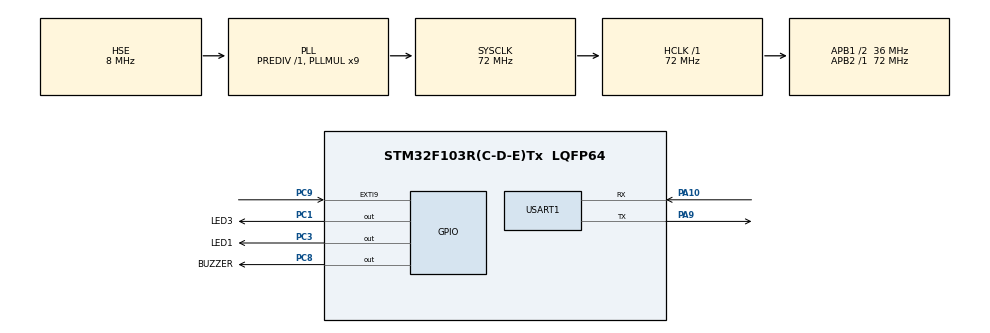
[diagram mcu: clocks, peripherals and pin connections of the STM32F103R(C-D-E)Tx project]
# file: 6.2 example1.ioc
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Mcu.Family=STM32F1
Mcu.Name=STM32F103R(C-D-E)Tx
Mcu.Package=LQFP64
NVIC.EXTI9_5_IRQn=true\:0\:0\:false\:false\:true\:true\:true\:true
NVIC.PriorityGroup=NVIC_PRIORITYGROUP_4
NVIC.TIM6_IRQn=true\:15\:0\:false\:false\:true\:false\:true\:true
NVIC.TimeBase=TIM6_IRQn
NVIC.TimeBaseIP=TIM6
PA10.Mode=Asynchronous
PA10.Signal=USART1_RX
PA13.Mode=Serial_Wire
PA13.Signal=SYS_JTMS-SWDIO
PA14.Mode=Serial_Wire
PA14.Signal=SYS_JTCK-SWCLK
PA9.Mode=Asynchronous
PA9.Signal=USART1_TX
PC1.GPIO_Label=LED3
PC1.Signal=GPIO_Output
PC3.GPIO_Label=LED1
PC3.Signal=GPIO_Output
PC8.GPIO_Label=BUZZER
PC8.Signal=GPIO_Output
PC9.GPIO_ModeDefaultEXTI=GPIO_MODE_IT_RISING
PC9.GPIO_PuPd=GPIO_PULLUP
PC9.Signal=GPXTI9
PD0-OSC_IN.Mode=HSE-External-Oscillator
PD0-OSC_IN.Signal=RCC_OSC_IN
PD1-OSC_OUT.Mode=HSE-External-Oscillator
PD1-OSC_OUT.Signal=RCC_OSC_OUT
ProjectManager.HeapSize=0x200
ProjectManager.StackSize=0x400
ProjectManager.TargetToolchain=STM32CubeIDE
RCC.AHBFreq_Value=72000000
RCC.APB1CLKDivider=RCC_HCLK_DIV2
RCC.APB1Freq_Value=36000000
RCC.APB1TimFreq_Value=72000000
RCC.APB2Freq_Value=72000000
RCC.APB2TimFreq_Value=72000000
RCC.HCLKFreq_Value=72000000
RCC.PLLMUL=RCC_PLL_MUL9
RCC.PLLSourceVirtual=RCC_PLLSOURCE_HSE
RCC.SYSCLKFreq_VALUE=72000000
RCC.SYSCLKSource=RCC_SYSCLKSOURCE_PLLCLK
RCC.USBFreq_Value=72000000
USART1.VirtualMode=VM_ASYNC
VP_SYS_VS_tim6.Mode=TIM6
board=custom

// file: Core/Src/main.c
/* USER CODE BEGIN Header */
/**
  ******************************************************************************
  * @file           : main.c
  * @brief          : Main program body
  ******************************************************************************
  * @attention
  *
  * Copyright (c) 2026 STMicroelectronics.
  * All rights reserved.
  *
  * This software is licensed under terms that can be found in the LICENSE file
  * in the root directory of this software component.
  * If no LICENSE file comes with this software, it is provided AS-IS.
  *
  ******************************************************************************
  */
/* USER CODE END Header */
#include "main.h"

/* USER CODE BEGIN Includes */
#include "FreeRTOS.h"
#include "task.h"
/* USER CODE END Includes */

UART_HandleTypeDef huart1;

void SystemClock_Config(void);
static void MX_GPIO_Init(void);
static void MX_USART1_UART_Init(void);

/* USER CODE BEGIN 0 */
void vLED1Task(void *pvParameters)
{
	for(;;)
	{
		HAL_GPIO_WritePin(LED1_GPIO_Port, LED1_Pin, GPIO_PIN_SET);
		vTaskDelay(pdMS_TO_TICKS(100));
		HAL_GPIO_WritePin(LED1_GPIO_Port, LED1_Pin, GPIO_PIN_RESET);
		vTaskDelay(pdMS_TO_TICKS(100));
	}
}

void HAL_GPIO_EXTI_Callback(uint16_t GPIO_Pin)
{
	static uint32_t debounceTime = 0;

	uint32_t now = HAL_GetTick();

	if((GPIO_Pin == GPIO_PIN_9) && (now - debounceTime > 10))
	{
		for(int i=0; i<2; i++)
		{
			HAL_GPIO_WritePin(BUZZER_GPIO_Port, BUZZER_Pin, GPIO_PIN_SET);
			for(int j=0; j<300000; j++);
			HAL_GPIO_WritePin(BUZZER_GPIO_Port, BUZZER_Pin, GPIO_PIN_RESET);
			for(int j=0; j<300000; j++);
		}

		debounceTime = now;
	}
}
/* USER CODE END 0 */

int main(void)
{

  /* MCU Configuration--------------------------------------------------------*/

  /* Reset of all peripherals, Initializes the Flash interface and the Systick. */
  HAL_Init();

  /* Configure the system clock */
  SystemClock_Config();

  /* Initialize all configured peripherals */
  MX_GPIO_Init();
  MX_USART1_UART_Init();
  /* USER CODE BEGIN 2 */

  xTaskCreate(vLED1Task, "LED1", 32, NULL, 1, NULL);

  vTaskStartScheduler();
  /* USER CODE END 2 */

  /* Infinite loop */
  while (1)
  {

  }
}

void SystemClock_Config(void)
{
  RCC_OscInitTypeDef RCC_OscInitStruct = {0};
  RCC_ClkInitTypeDef RCC_ClkInitStruct = {0};

  /** Initializes the RCC Oscillators according to the specified parameters
  * in the RCC_OscInitTypeDef structure.
  */
  RCC_OscInitStruct.OscillatorType = RCC_OSCILLATORTYPE_HSE;
  RCC_OscInitStruct.HSEState = RCC_HSE_ON;
  RCC_OscInitStruct.HSEPredivValue = RCC_HSE_PREDIV_DIV1;
  RCC_OscInitStruct.HSIState = RCC_HSI_ON;
  RCC_OscInitStruct.PLL.PLLState = RCC_PLL_ON;
  RCC_OscInitStruct.PLL.PLLSource = RCC_PLLSOURCE_HSE;
  RCC_OscInitStruct.PLL.PLLMUL = RCC_PLL_MUL9;
  if (HAL_RCC_OscConfig(&RCC_OscInitStruct) != HAL_OK)
  {
    Error_Handler();
  }

  /** Initializes the CPU, AHB and APB buses clocks
  */
  RCC_ClkInitStruct.ClockType = RCC_CLOCKTYPE_HCLK|RCC_CLOCKTYPE_SYSCLK
                              |RCC_CLOCKTYPE_PCLK1|RCC_CLOCKTYPE_PCLK2;
  RCC_ClkInitStruct.SYSCLKSource = RCC_SYSCLKSOURCE_PLLCLK;
  RCC_ClkInitStruct.AHBCLKDivider = RCC_SYSCLK_DIV1;
  RCC_ClkInitStruct.APB1CLKDivider = RCC_HCLK_DIV2;
  RCC_ClkInitStruct.APB2CLKDivider = RCC_HCLK_DIV1;

  if (HAL_RCC_ClockConfig(&RCC_ClkInitStruct, FLASH_LATENCY_2) != HAL_OK)
  {
    Error_Handler();
  }
}

static void MX_USART1_UART_Init(void)
{

  huart1.Instance = USART1;
  huart1.Init.BaudRate = 115200;
  huart1.Init.WordLength = UART_WORDLENGTH_8B;
  huart1.Init.StopBits = UART_STOPBITS_1;
  huart1.Init.Parity = UART_PARITY_NONE;
  huart1.Init.Mode = UART_MODE_TX_RX;
  huart1.Init.HwFlowCtl = UART_HWCONTROL_NONE;
  huart1.Init.OverSampling = UART_OVERSAMPLING_16;
  if (HAL_UART_Init(&huart1) != HAL_OK)
  {
    Error_Handler();
  }

}

static void MX_GPIO_Init(void)
{
  GPIO_InitTypeDef GPIO_InitStruct = {0};

  /* GPIO Ports Clock Enable */
  __HAL_RCC_GPIOD_CLK_ENABLE();
  __HAL_RCC_GPIOC_CLK_ENABLE();
  __HAL_RCC_GPIOA_CLK_ENABLE();

  /*Configure GPIO pin Output Level */
  HAL_GPIO_WritePin(GPIOC, LED3_Pin|LED1_Pin|BUZZER_Pin, GPIO_PIN_RESET);

  /*Configure GPIO pins : LED3_Pin LED1_Pin BUZZER_Pin */
  GPIO_InitStruct.Pin = LED3_Pin|LED1_Pin|BUZZER_Pin;
  GPIO_InitStruct.Mode = GPIO_MODE_OUTPUT_PP;
  GPIO_InitStruct.Pull = GPIO_NOPULL;
  GPIO_InitStruct.Speed = GPIO_SPEED_FREQ_LOW;
  HAL_GPIO_Init(GPIOC, &GPIO_InitStruct);

  /*Configure GPIO pin : PC9 */
  GPIO_InitStruct.Pin = GPIO_PIN_9;
  GPIO_InitStruct.Mode = GPIO_MODE_IT_RISING;
  GPIO_InitStruct.Pull = GPIO_PULLUP;
  HAL_GPIO_Init(GPIOC, &GPIO_InitStruct);

  /* EXTI interrupt init*/
  HAL_NVIC_SetPriority(EXTI9_5_IRQn, 0, 0);
  HAL_NVIC_EnableIRQ(EXTI9_5_IRQn);

}

void HAL_TIM_PeriodElapsedCallback(TIM_HandleTypeDef *htim)
{
  if (htim->Instance == TIM6)
  {
    HAL_IncTick();
  }
}

void Error_Handler(void)
{
  __disable_irq();
  while (1)
  {
  }
}
